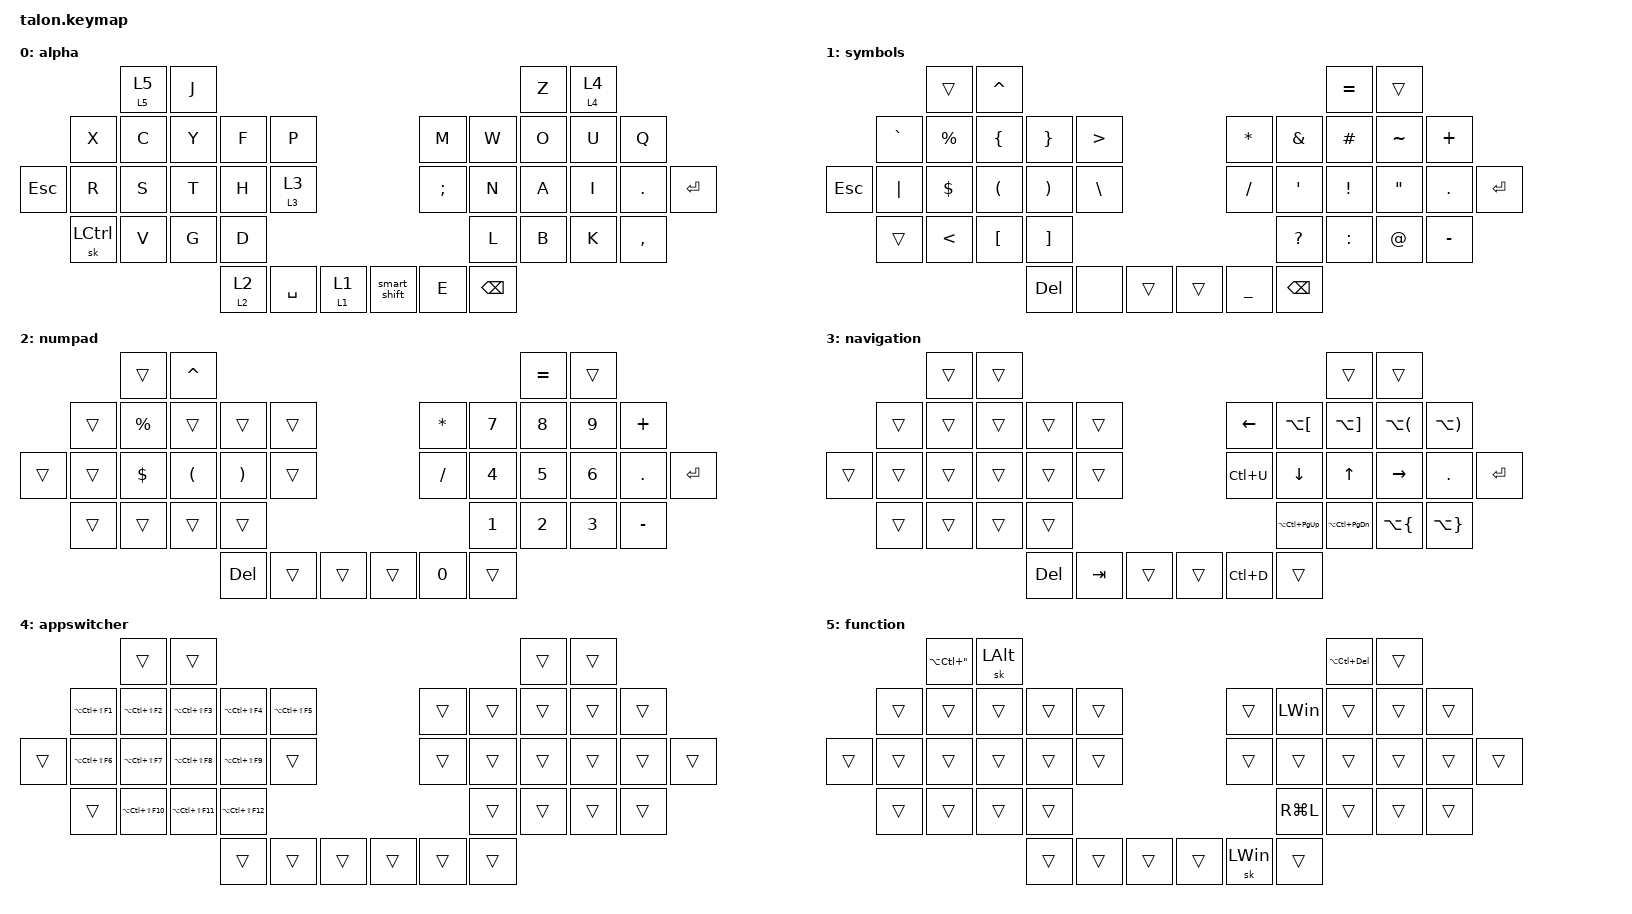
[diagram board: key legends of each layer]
#include <behaviors.dtsi>
#include <dt-bindings/zmk/keys.h>

&sk {
    release-after-ms = <600>;
    quick-release;
};

&sl { release-after-ms = <600>; };

/ {
    behaviors {
        smart_shift: smart_shift {
            compatible = "zmk,behavior-mod-morph";
            label = "SMART_SHIFT";
            bindings = <&sk LEFT_SHIFT>, <&caps_word>;

            #binding-cells = <0>;
            mods = <(MOD_LSFT)>;
        };

        smart_layer: smart_layer {
            compatible = "zmk,behavior-hold-tap";
            label = "SMART_LAYER";
            bindings = <&mo>, <&sl>;

            #binding-cells = <2>;
            tapping-term-ms = <1000>;
            flavor = "hold-preferred";
            retro-tap;
        };
    };

    combos { compatible = "zmk,combos"; };

    keymap {
        compatible = "zmk,keymap";

        alpha {
            bindings = <
                           &smart_layer 5 5  &kp J                                                                                                 &kp Z  &smart_layer 4 4
         &kp X             &kp C             &kp Y  &kp F             &kp P                                               &kp M     &kp W          &kp O  &kp U             &kp Q
&kp ESC  &kp R             &kp S             &kp T  &kp H             &smart_layer 3 3                                    &kp SEMI  &kp N          &kp A  &kp I             &kp DOT    &kp RET
         &sk LEFT_CONTROL  &kp V             &kp G  &kp D                                                                           &kp L          &kp B  &kp K             &kp COMMA
                                                    &smart_layer 2 2  &kp SPACE         &smart_layer 1 1    &smart_shift  &kp E     &kp BACKSPACE
            >;
        };

        symbols {
            bindings = <
                       &trans         &kp CARET                                                                                                     &kp EQUAL        &trans
            &kp GRAVE  &kp PERCENT    &kp LEFT_BRACE        &kp RIGHT_BRACE        &kp GREATER_THAN                    &kp ASTERISK  &kp AMPERSAND  &kp HASH         &kp TILDE          &kp PLUS
&kp ESCAPE  &kp PIPE   &kp DOLLAR     &kp LEFT_PARENTHESIS  &kp RIGHT_PARENTHESIS  &kp BACKSLASH                       &kp SLASH     &kp SQT        &kp EXCLAMATION  &kp DOUBLE_QUOTES  &kp PERIOD  &kp ENTER
            &trans     &kp LESS_THAN  &kp LEFT_BRACKET      &kp RIGHT_BRACKET                                                        &kp QUESTION   &kp COLON        &kp AT_SIGN        &kp MINUS
                                                            &kp DELETE             &none             &trans    &trans  &kp UNDER     &kp BACKSPACE
            >;
        };

        numpad {
            bindings = <
                &trans       &kp CARET                                                                                    &kp EQUAL  &trans
        &trans  &kp PERCENT  &trans                &trans                 &trans                    &kp ASTERISK  &kp N7  &kp N8     &kp N9  &kp PLUS
&trans  &trans  &kp DOLLAR   &kp LEFT_PARENTHESIS  &kp RIGHT_PARENTHESIS  &trans                    &kp SLASH     &kp N4  &kp N5     &kp N6  &kp DOT    &kp ENTER
        &trans  &trans       &trans                &trans                                                         &kp N1  &kp N2     &kp N3  &kp MINUS
                                                   &kp DELETE             &trans  &trans    &trans  &kp N0        &trans
            >;
        };

        navigation {
            bindings = <
                &trans  &trans                                                                               &trans                 &trans
        &trans  &trans  &trans  &trans      &trans                     &kp LEFT_ARROW  &kp LA(LEFT_BRACKET)  &kp LA(RIGHT_BRACKET)  &kp LA(LEFT_PARENTHESIS)  &kp LA(RIGHT_PARENTHESIS)
&trans  &trans  &trans  &trans  &trans      &trans                     &kp LC(U)       &kp DOWN_ARROW        &kp UP_ARROW           &kp RIGHT                 &kp PERIOD                 &kp ENTER
        &trans  &trans  &trans  &trans                                                 &kp LA(LC(PAGE_UP))   &kp LA(LC(PAGE_DOWN))  &kp LA(LEFT_BRACE)        &kp LA(RIGHT_BRACE)
                                &kp DELETE  &kp TAB  &trans    &trans  &kp LC(D)       &trans
            >;
        };

        appswitcher {
            bindings = <
                            &trans               &trans                                                                                          &trans  &trans
        &kp LA(LC(LS(F1)))  &kp LA(LC(LS(F2)))   &kp LA(LC(LS(F3)))   &kp LA(LC(LS(F4)))   &kp LA(LC(LS(F5)))                    &trans  &trans  &trans  &trans  &trans
&trans  &kp LA(LC(LS(F6)))  &kp LA(LC(LS(F7)))   &kp LA(LC(LS(F8)))   &kp LA(LC(LS(F9)))   &trans                                &trans  &trans  &trans  &trans  &trans  &trans
        &trans              &kp LA(LC(LS(F10)))  &kp LA(LC(LS(F11)))  &kp LA(LC(LS(F12)))                                                &trans  &trans  &trans  &trans
                                                                      &trans               &trans              &trans    &trans  &trans  &trans
            >;
        };

        function {
            bindings = <
                &kp LA(LC(DOUBLE_QUOTES))  &sk LEFT_ALT                                                                &kp LA(LC(DELETE))  &trans
        &trans  &trans                     &trans        &trans  &trans                    &trans        &kp LEFT_WIN  &trans              &trans  &trans
&trans  &trans  &trans                     &trans        &trans  &trans                    &trans        &trans        &trans              &trans  &trans  &trans
        &trans  &trans                     &trans        &trans                                          &kp RG(L)     &trans              &trans  &trans
                                                         &trans  &trans  &trans    &trans  &sk LEFT_WIN  &trans
            >;
        };
    };
};
